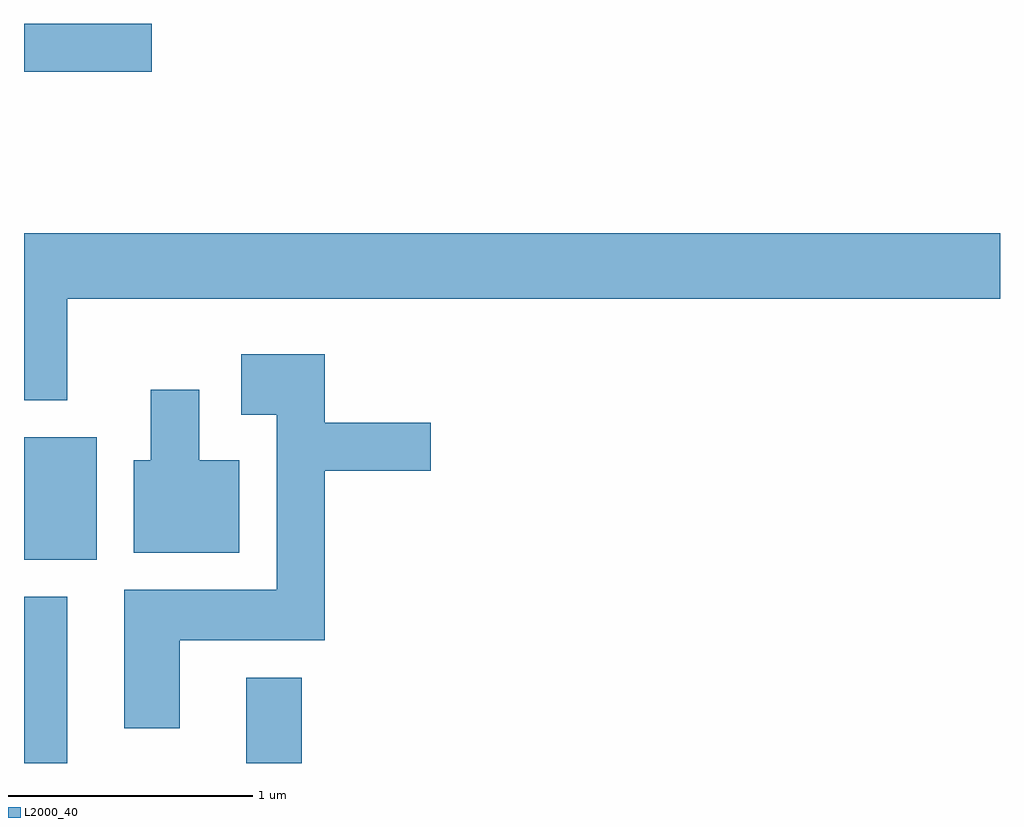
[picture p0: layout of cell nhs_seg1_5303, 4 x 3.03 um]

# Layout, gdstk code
import gdstk
lib = gdstk.Library(unit=1e-6, precision=1e-09)
def R(c, l, rs):  # rectangles x0, y0, x1, y1
    for r in rs: c.add(gdstk.rectangle(r[:2], r[2:], *l))
def P(c, l, *ps):  # polygons
    for p in ps: c.add(gdstk.Polygon(p, *l))
L2000_40 = (2000, 40)

nhs_seg1_5303 = lib.new_cell('nhs_seg1_5303')
R(nhs_seg1_5303, L2000_40, [(345.611,857.712,345.789,858.394), (346.521,857.712,346.749,858.064), (345.611,858.546,345.909,859.049), (345.611,860.546,346.134,860.744)])
P(nhs_seg1_5303, L2000_40, [(345.789,859.616),(349.611,859.616),(349.611,859.884),(345.611,859.884),(345.611,859.201),(345.789,859.201)],
  [(346.249,858.216),(346.844,858.216),(346.844,858.911),(347.279,858.911),(347.279,859.109),(346.844,859.109),(346.844,859.389),(346.501,859.389),(346.501,859.141),(346.646,859.141),(346.646,858.424),(346.021,858.424),(346.021,857.856),(346.249,857.856)],
  [(346.494,858.954),(346.329,858.954),(346.329,859.244),(346.131,859.244),(346.131,858.954),(346.061,858.954),(346.061,858.576),(346.494,858.576)])

lib.write_gds('nhs_seg1_5303.gds')
